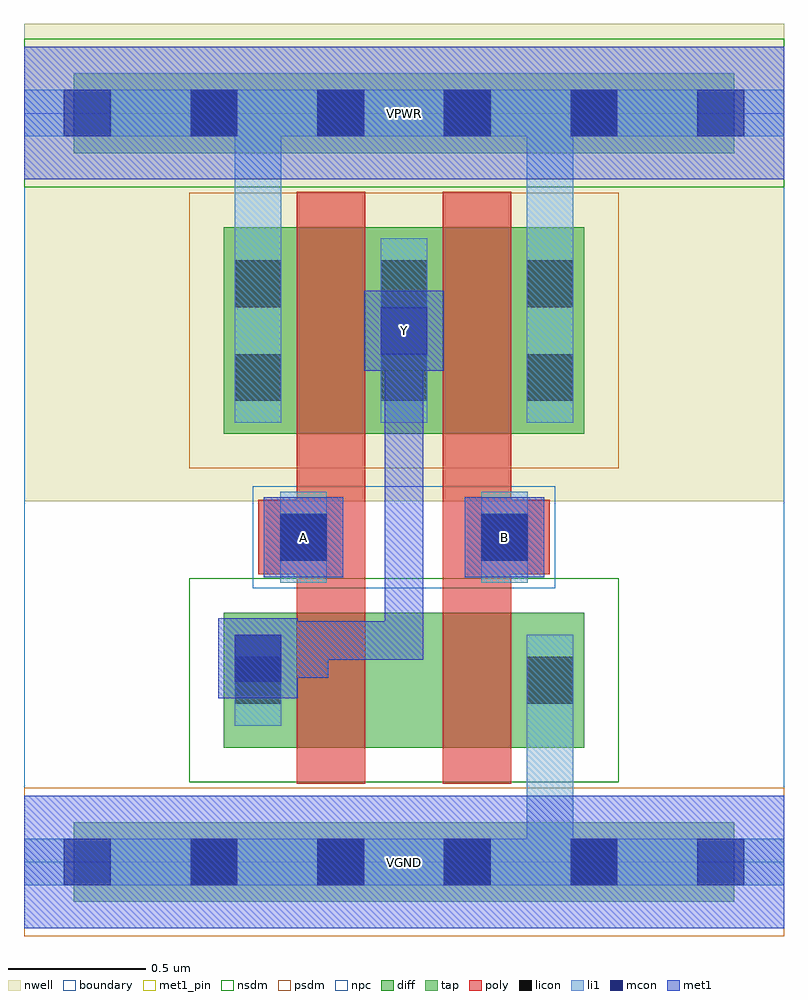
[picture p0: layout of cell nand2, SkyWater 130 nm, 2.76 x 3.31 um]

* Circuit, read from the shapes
.subckt nand2 A B VGND VPWR Y
XM1 n1 A Y VGND sky130_fd_pr__nfet_01v8 w=0.49 l=0.25
XM2 VGND B n1 VGND sky130_fd_pr__nfet_01v8 w=0.49 l=0.25
XM3 Y A VPWR VPWR sky130_fd_pr__pfet_01v8 w=0.75 l=0.25
XM4 VPWR B Y VPWR sky130_fd_pr__pfet_01v8 w=0.75 l=0.25
.ends

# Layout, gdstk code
import gdstk
lib = gdstk.Library(unit=1e-6, precision=1e-09)
def R(c, l, rs):  # rectangles x0, y0, x1, y1
    for r in rs: c.add(gdstk.rectangle(r[:2], r[2:], *l))
def A(c, l, x, y, w, h, nx, ny, dx, dy):  # array of equal rectangles
    R(c, l, [(x+i*dx, y+j*dy, x+i*dx+w, y+j*dy+h) for i in range(nx) for j in range(ny)])
nwell = (64, 20)
diff = (65, 20)
tap = (65, 44)
poly = (66, 20)
licon = (66, 44)
li1 = (67, 20)
mcon = (67, 44)
met1_pin = (68, 16)
met1 = (68, 20)
nsdm = (93, 44)
psdm = (94, 20)
npc = (95, 20)
boundary = (235, 4)

nand2 = lib.new_cell('nand2')
R(nand2, nwell, [(0,1.31,2.76,3.045)])
R(nand2, diff, [(0.725,0.415,2.035,0.905), (0.725,1.555,2.035,2.305)])
R(nand2, tap, [(0.18,-0.145,2.58,0.145), (0.18,2.575,2.58,2.865)])
R(nand2, poly, [(0.99,0.285,1.24,2.435), (1.52,0.285,1.77,2.435), (0.85,1.045,1.18,1.315), (1.58,1.045,1.91,1.315)])
A(nand2, licon, 0.605, -0.085, 0.17, 0.17, 4, 2, 0.46, 2.72)
A(nand2, licon, 0.765, 1.675, 0.17, 0.17, 3, 2, 0.53, 0.34)
R(nand2, licon, [(0.765,0.575,0.935,0.745), (1.825,0.575,1.995,0.745), (0.93,1.095,1.1,1.265), (1.66,1.095,1.83,1.265)])
A(nand2, li1, 0.765, 1.595, 0.17, 0.67, 3, 1, 0.53, 0)
R(nand2, li1, [(0,-0.085,2.76,0.085), (1.825,-0.085,1.995,0.825), (0.765,0.495,0.935,0.825), (1.825,0.495,1.995,0.825), (0.93,1.015,1.1,1.345), (1.66,1.015,1.83,1.345), (0.765,1.595,0.935,2.805), (1.825,1.595,1.995,2.805), (0,2.635,2.76,2.805)])
A(nand2, mcon, 0.145, -0.085, 0.17, 0.17, 6, 2, 0.46, 2.72)
R(nand2, mcon, [(0.765,0.655,0.935,0.825), (0.93,1.095,1.1,1.265), (1.66,1.095,1.83,1.265), (1.295,1.845,1.465,2.015)])
R(nand2, met1_pin, [(0,-0.24,2.76,0.24), (0.87,1.035,1.16,1.325), (1.6,1.035,1.89,1.325), (1.235,1.785,1.525,2.075), (0,2.48,2.76,2.96)])
R(nand2, met1, [(0,-0.24,2.76,0.24), (0.705,0.595,0.995,0.885), (0.78,0.67,1.105,0.81), (0.965,0.67,1.105,0.875), (0.965,0.735,1.45,0.875), (1.31,0.735,1.45,2.025), (0.87,1.035,1.16,1.325), (1.6,1.035,1.89,1.325), (1.235,1.785,1.525,2.075), (1.31,1.885,1.45,2.025), (0,2.48,2.76,2.96)])
R(nand2, nsdm, [(0.6,0.29,2.16,1.03), (0,2.45,2.76,2.99)])
R(nand2, psdm, [(0,-0.27,2.76,0.27), (0.6,1.43,2.16,2.43)])
R(nand2, npc, [(0.83,0.995,1.93,1.365)])
R(nand2, boundary, [(0,0,2.76,2.72)])
nand2.add(gdstk.Label('A', (1.015,1.18), layer=68, texttype=5))
nand2.add(gdstk.Label('B', (1.745,1.18), layer=68, texttype=5))
nand2.add(gdstk.Label('Y', (1.38,1.93), layer=68, texttype=5))
nand2.add(gdstk.Label('VPWR', (1.38,2.72), layer=68, texttype=5))
nand2.add(gdstk.Label('VGND', (1.38,0), layer=68, texttype=5))
nand2.add(gdstk.Label('A', (1.015,1.18), layer=68, texttype=16))
nand2.add(gdstk.Label('B', (1.745,1.18), layer=68, texttype=16))
nand2.add(gdstk.Label('Y', (1.38,1.93), layer=68, texttype=16))
nand2.add(gdstk.Label('VPWR', (1.38,2.72), layer=68, texttype=16))
nand2.add(gdstk.Label('VGND', (1.38,0), layer=68, texttype=16))

lib.write_gds('nand2.gds')
